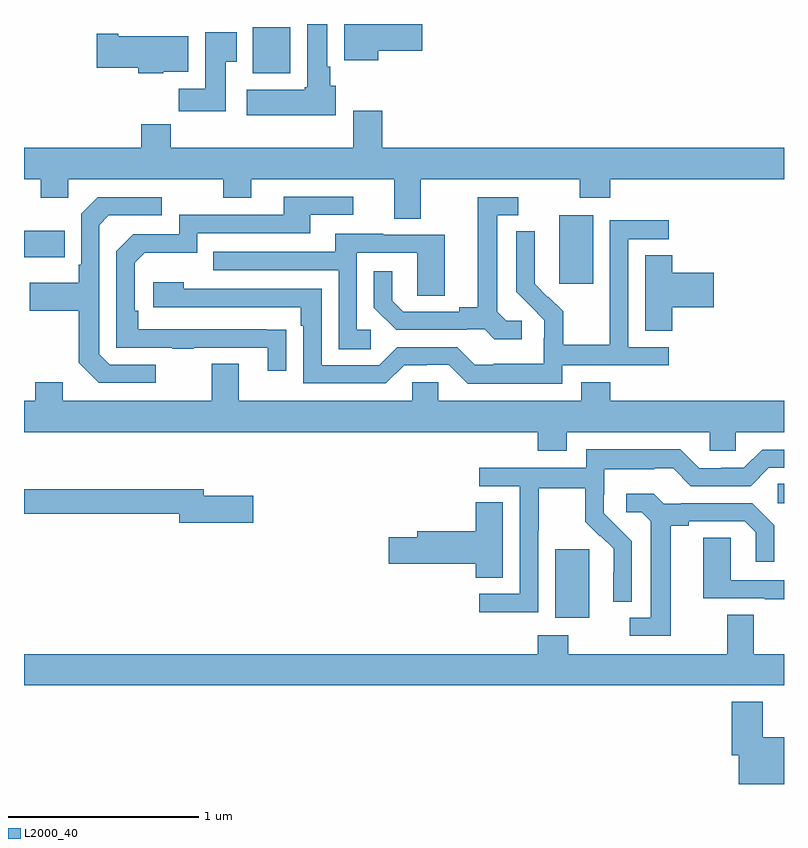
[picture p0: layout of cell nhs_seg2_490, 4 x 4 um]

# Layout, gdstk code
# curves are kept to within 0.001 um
import gdstk
lib = gdstk.Library(unit=1e-6, precision=1e-09)
def R(c, l, rs):  # rectangles x0, y0, x1, y1
    for r in rs: c.add(gdstk.rectangle(r[:2], r[2:], *l))
def P(c, l, *ps):  # polygons
    for p in ps: c.add(gdstk.Polygon(p, *l))
L2000_40 = (2000, 40)

nhs_seg2_490 = lib.new_cell('nhs_seg2_490')
R(nhs_seg2_490, L2000_40, [(137.795,630.674,137.974,631.035), (138.966,631.278,139,631.379), (137.816,632.433,137.995,632.794), (135,632.573,135.215,632.713), (136.205,633.542,136.402,633.784)])
P(nhs_seg2_490, L2000_40, [(136.642,633.474),(136.612,633.474),(136.612,633.574),(136.597,633.574),(136.597,633.8),(136.49,633.8),(136.49,633.468),(136.477,633.468),(136.477,633.454),(136.173,633.454),(136.173,633.32),(136.642,633.32)],
  [(136.864,633.659),(137.095,633.659),(137.095,633.8),(136.685,633.8),(136.685,633.608),(136.864,633.608)],
  [(136.063,633.601),(136.12,633.601),(136.12,633.757),(135.953,633.757),(135.953,633.46),(135.814,633.46),(135.814,633.342),(136.063,633.342)],
  [(135.732,633.548),(135.865,633.548),(135.865,633.736),(135.496,633.736),(135.496,633.749),(135.384,633.749),(135.384,633.571),(135.602,633.571),(135.602,633.542),(135.732,633.542)],
  [(137.089,632.984),(137.926,632.984),(137.926,632.885),(138.086,632.885),(138.086,632.984),(139,632.984),(139,633.148),(136.886,633.148),(136.886,633.343),(136.733,633.343),(136.733,633.148),(135.773,633.148),(135.773,633.272),(135.617,633.272),(135.617,633.148),(135,633.148),(135,632.984),(135.088,632.984),(135.088,632.885),(135.234,632.885),(135.234,632.984),(136.048,632.984),(136.048,632.885),(136.195,632.885),(136.195,632.984),(136.949,632.984),(136.949,632.776),(137.089,632.776)],
  [(136.379,632.192),(135.602,632.193),(135.602,632.29),(135.582,632.29),(135.582,632.544),(135.635,632.597),(135.912,632.597),(135.912,632.7),(136.507,632.7),(136.507,632.796),(136.732,632.796),(136.732,632.892),(136.367,632.892),(136.367,632.796),(135.816,632.796),(135.816,632.694),(135.576,632.694),(135.486,632.604),(135.486,632.097),(135.781,632.097),(135.781,632.092),(135.893,632.092),(135.893,632.097),(136.283,632.097),(136.283,631.974),(136.379,631.974)],
  [(135.694,632.007),(135.45,632.007),(135.396,632.061),(135.396,632.742),(135.447,632.793),(135.724,632.793),(135.724,632.889),(135.387,632.889),(135.3,632.802),(135.3,632.533),(135.288,632.533),(135.288,632.437),(135.031,632.437),(135.031,632.29),(135.288,632.29),(135.288,632.017),(135.393,631.911),(135.694,631.911)],
  [(137.62,632.238),(137.538,632.238),(137.491,632.285),(137.491,632.793),(137.602,632.793),(137.602,632.889),(137.387,632.889),(137.387,632.309),(137.291,632.309),(137.291,632.286),(136.996,632.286),(136.939,632.343),(136.939,632.5),(136.842,632.5),(136.842,632.306),(136.958,632.19),(137.33,632.19),(137.33,632.193),(137.424,632.193),(137.476,632.141),(137.62,632.141)],
  [(137.832,632.004),(138.394,632.004),(138.394,632.1),(138.18,632.1),(138.18,632.667),(138.394,632.667),(138.394,632.766),(138.084,632.766),(138.084,632.336),(138.082,632.336),(138.082,632.113),(137.837,632.113),(137.837,632.287),(137.76,632.364),(137.757,632.361),(137.687,632.432),(137.688,632.708),(137.592,632.708),(137.592,632.39),(137.738,632.242),(137.738,632.145),(137.736,632.145),(137.736,632.011),(137.473,632.011),(137.473,632.007),(137.373,632.007),(137.28,632.1),(136.965,632.1),(136.869,632.004),(136.566,632.004),(136.566,632.406),(135.842,632.406),(135.842,632.44),(135.681,632.44),(135.681,632.31),(136.457,632.31),(136.457,632.213),(136.47,632.213),(136.47,631.908),(136.905,631.908),(137.001,632.004),(137.12,632.004),(137.12,632.007),(137.235,632.007),(137.335,631.907),(137.832,631.907)],
  [(136.825,632.19),(136.752,632.19),(136.752,632.595),(137.07,632.595),(137.07,632.371),(137.215,632.371),(137.215,632.691),(136.891,632.691),(136.891,632.695),(136.637,632.695),(136.637,632.601),(135.997,632.601),(135.997,632.505),(136.656,632.505),(136.656,632.089),(136.825,632.089)],
  [(138.413,632.309),(138.631,632.309),(138.631,632.492),(138.413,632.492),(138.413,632.582),(138.269,632.582),(138.269,632.185),(138.413,632.185)],
  [(137.857,631.652),(138.609,631.652),(138.609,631.554),(138.747,631.554),(138.747,631.652),(139,631.652),(139,631.816),(138.086,631.816),(138.086,631.915),(137.933,631.915),(137.933,631.816),(137.181,631.816),(137.181,631.914),(137.043,631.914),(137.043,631.816),(136.129,631.816),(136.129,632.011),(135.989,632.011),(135.989,631.816),(135.205,631.816),(135.205,631.915),(135.058,631.915),(135.058,631.816),(135,631.816),(135,631.652),(137.705,631.652),(137.705,631.553),(137.857,631.553)],
  [(137.706,631.132),(137.709,631.132),(137.709,631.356),(137.953,631.356),(137.953,631.181),(138.03,631.104),(138.033,631.107),(138.104,631.037),(138.104,630.914),(138.102,630.914),(138.102,630.76),(138.198,630.76),(138.198,631.078),(138.052,631.226),(138.052,631.323),(138.054,631.323),(138.054,631.457),(138.317,631.457),(138.317,631.461),(138.417,631.461),(138.51,631.368),(138.825,631.368),(138.921,631.464),(139,631.464),(139,631.56),(138.885,631.56),(138.789,631.464),(138.671,631.464),(138.671,631.461),(138.555,631.461),(138.455,631.561),(137.958,631.561),(137.958,631.464),(137.397,631.464),(137.397,631.368),(137.61,631.368),(137.61,630.801),(137.397,630.801),(137.397,630.703),(137.706,630.703)],
  [(136.207,631.317),(135.946,631.317),(135.946,631.351),(135,631.351),(135,631.222),(135.818,631.222),(135.818,631.175),(136.207,631.175)],
  [(138.403,631.16),(138.499,631.16),(138.499,631.182),(138.794,631.182),(138.851,631.125),(138.851,630.969),(138.948,630.969),(138.948,631.162),(138.832,631.278),(138.46,631.278),(138.46,631.275),(138.366,631.275),(138.314,631.327),(138.171,631.327),(138.171,631.23),(138.252,631.23),(138.299,631.183),(138.299,630.675),(138.189,630.675),(138.189,630.579),(138.403,630.579)],
  [(137.521,631.283),(137.378,631.283),(137.378,631.13),(137.069,631.13),(137.069,631.1),(136.92,631.1),(136.92,630.958),(137.378,630.958),(137.378,630.886),(137.521,630.886)],
  [(139,630.873),(138.72,630.873),(138.72,631.097),(138.575,631.097),(138.575,630.777),(138.899,630.777),(138.899,630.773),(139,630.773)],
  [(139,630.484),(138.841,630.484),(138.841,630.692),(138.701,630.692),(138.701,630.484),(137.865,630.484),(137.865,630.583),(137.705,630.583),(137.705,630.484),(135,630.484),(135,630.32),(139,630.32)],
  [(139,630.045),(138.889,630.045),(138.889,630.232),(138.725,630.232),(138.725,629.952),(138.761,629.952),(138.761,629.8),(139,629.8)])

lib.write_gds('nhs_seg2_490.gds')
